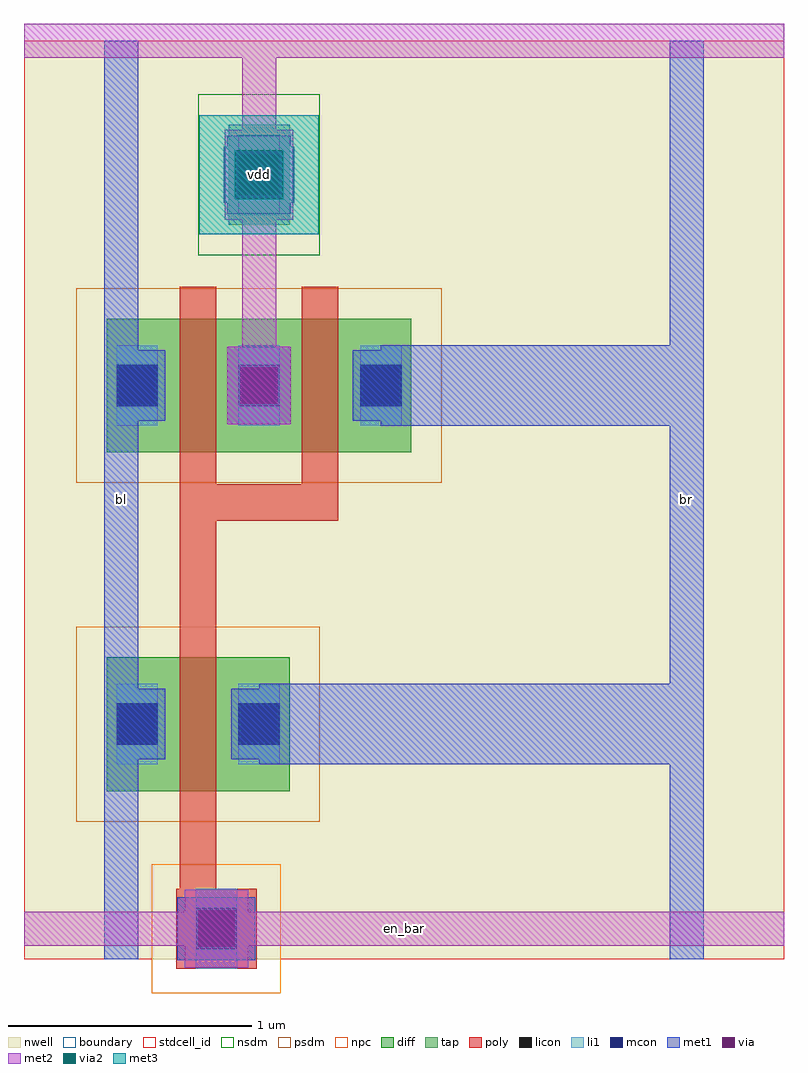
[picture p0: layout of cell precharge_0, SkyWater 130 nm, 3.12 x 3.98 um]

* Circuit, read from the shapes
.subckt precharge_0 bl br en_bar vdd
XM1 br en_bar bl vdd sky130_fd_pr__pfet_01v8 w=0.55 l=0.15
XM2 vdd en_bar bl vdd sky130_fd_pr__pfet_01v8 w=0.55 l=0.15
XM3 br en_bar vdd vdd sky130_fd_pr__pfet_01v8 w=0.55 l=0.15
.ends

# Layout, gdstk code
import gdstk
lib = gdstk.Library(unit=1e-6, precision=1e-09)
def R(c, l, rs):  # rectangles x0, y0, x1, y1
    for r in rs: c.add(gdstk.rectangle(r[:2], r[2:], *l))
nwell = (64, 20)
diff = (65, 20)
tap = (65, 44)
poly = (66, 20)
licon = (66, 44)
li1 = (67, 20)
mcon = (67, 44)
met1 = (68, 20)
via = (68, 44)
met2 = (69, 20)
via2 = (69, 44)
met3 = (70, 20)
stdcell_id = (81, 4)
nsdm = (93, 44)
psdm = (94, 20)
npc = (95, 20)
boundary = (235, 4)

contact_11 = lib.new_cell('contact_11')
R(contact_11, nwell, [(-0.295,-0.255,0.545,0.585)])
R(contact_11, diff, [(0,0.02,0.25,0.31)])
R(contact_11, licon, [(0.04,0.08,0.21,0.25)])
R(contact_11, li1, [(0.04,0,0.21,0.33)])
R(contact_11, stdcell_id, [(-0.295,-0.255,0.545,0.585)])
R(contact_11, psdm, [(-0.125,-0.105,0.375,0.435)])
R(contact_11, boundary, [(-0.295,-0.255,0.545,0.585)])

pmos_m1_w0_550_sli_dli = lib.new_cell('pmos_m1_w0_550_sli_dli')
R(pmos_m1_w0_550_sli_dli, nwell, [(-0.27,-0.27,1.02,0.82)])
R(pmos_m1_w0_550_sli_dli, diff, [(0,0,0.75,0.55)])
R(pmos_m1_w0_550_sli_dli, poly, [(0.3,-0.13,0.45,0.68), (0.3,-0.13,0.45,0.68)])
R(pmos_m1_w0_550_sli_dli, li1, [(0.04,0.11,0.21,0.44), (0.54,0.11,0.71,0.44)])
R(pmos_m1_w0_550_sli_dli, stdcell_id, [(-0.27,-0.27,1.02,0.82)])
R(pmos_m1_w0_550_sli_dli, psdm, [(-0.125,-0.125,0.875,0.675)])
R(pmos_m1_w0_550_sli_dli, boundary, [(-0.27,-0.27,1.02,0.82)])
pmos_m1_w0_550_sli_dli.add(gdstk.Reference(contact_11, (0,0.11)))
pmos_m1_w0_550_sli_dli.add(gdstk.Reference(contact_11, (0.5,0.11)))
pmos_m1_w0_550_sli_dli.add(gdstk.Label('D', (0.625,0.275), layer=67, texttype=16))
pmos_m1_w0_550_sli_dli.add(gdstk.Label('S', (0.125,0.275), layer=67, texttype=16))
pmos_m1_w0_550_sli_dli.add(gdstk.Label('G', (0.375,0.275), layer=66, texttype=16))

contact_12 = lib.new_cell('contact_12')
R(contact_12, poly, [(0,0,0.33,0.33)])
R(contact_12, licon, [(0.08,0.08,0.25,0.25)])
R(contact_12, li1, [(0.08,0,0.25,0.33)])
R(contact_12, stdcell_id, [(-0.1,-0.1,0.43,0.43)])
R(contact_12, npc, [(-0.1,-0.1,0.43,0.43)])
R(contact_12, boundary, [(-0.1,-0.1,0.43,0.43)])

contact_7 = lib.new_cell('contact_7')
R(contact_7, li1, [(0.06,0,0.23,0.33)])
R(contact_7, mcon, [(0.06,0.08,0.23,0.25)])
R(contact_7, met1, [(0,0.05,0.29,0.28)])
R(contact_7, stdcell_id, [(0,0,0.29,0.33)])
R(contact_7, boundary, [(0,0,0.29,0.33)])

contact_8 = lib.new_cell('contact_8')
R(contact_8, met1, [(0,0.03,0.32,0.29)])
R(contact_8, via, [(0.085,0.085,0.235,0.235)])
R(contact_8, met2, [(0.03,0,0.29,0.32)])
R(contact_8, stdcell_id, [(0,0,0.32,0.32)])
R(contact_8, boundary, [(0,0,0.32,0.32)])

contact_13 = lib.new_cell('contact_13')
R(contact_13, nwell, [(-0.295,-0.215,0.545,0.625)])
R(contact_13, tap, [(0,0,0.25,0.41)])
R(contact_13, licon, [(0.04,0.12,0.21,0.29)])
R(contact_13, li1, [(0.04,0.04,0.21,0.37)])
R(contact_13, stdcell_id, [(-0.295,-0.215,0.545,0.625)])
R(contact_13, nsdm, [(-0.125,-0.125,0.375,0.535)])
R(contact_13, boundary, [(-0.295,-0.215,0.545,0.625)])

contact_14 = lib.new_cell('contact_14')
R(contact_14, met1, [(0,0,0.26,0.32)])
R(contact_14, via, [(0.055,0.085,0.205,0.235)])
R(contact_14, met2, [(0,0,0.26,0.32)])
R(contact_14, stdcell_id, [(0,0,0.26,0.32)])
R(contact_14, boundary, [(0,0,0.26,0.32)])

contact_15 = lib.new_cell('contact_15')
R(contact_15, met2, [(0.025,0,0.305,0.37)])
R(contact_15, via2, [(0.065,0.085,0.265,0.285)])
R(contact_15, met3, [(0,0.02,0.33,0.35)])
R(contact_15, stdcell_id, [(0,0,0.33,0.37)])
R(contact_15, boundary, [(0,0,0.33,0.37)])

contact_16 = lib.new_cell('contact_16')
R(contact_16, li1, [(0.03,0,0.2,0.33)])
R(contact_16, mcon, [(0.03,0.08,0.2,0.25)])
R(contact_16, met1, [(0,0.02,0.23,0.31)])
R(contact_16, stdcell_id, [(0,0,0.23,0.33)])
R(contact_16, boundary, [(0,0,0.23,0.33)])

precharge_0 = lib.new_cell('precharge_0')
R(precharge_0, nwell, [(0,0,3.12,3.77)])
R(precharge_0, poly, [(0.64,0.05,0.79,0.2), (0.715,0.05,0.79,0.2), (0.64,0.125,0.79,0.56), (0.64,1.37,0.79,1.95), (0.64,1.8,1.29,1.95)])
R(precharge_0, met1, [(0.63,-0.005,0.95,0.255), (0.33,0,0.47,3.77), (0.33,0,0.47,3.77), (2.65,0,2.79,3.77), (2.65,0,2.79,3.77), (0.4,0.8,0.465,1.13), (0.965,0.8,2.72,1.13), (0.4,2.19,0.465,2.52), (1.465,2.19,2.72,2.52), (0.835,2.195,1.095,2.515)])
R(precharge_0, met2, [(0,0.055,3.12,0.195), (0.895,2.355,1.035,3.77), (0.825,3.1,1.105,3.34), (0,3.7,3.12,3.84)])
R(precharge_0, met3, [(0.72,2.975,1.21,3.465)])
R(precharge_0, stdcell_id, [(0,0,3.12,3.77)])
R(precharge_0, boundary, [(0,0,3.12,3.77)])
precharge_0.add(gdstk.Reference(pmos_m1_w0_550_sli_dli, (0.34,0.69)))
precharge_0.add(gdstk.Reference(pmos_m1_w0_550_sli_dli, (0.34,2.08)))
precharge_0.add(gdstk.Reference(pmos_m1_w0_550_sli_dli, (0.84,2.08)))
precharge_0.add(gdstk.Reference(contact_12, (0.625,-0.04)))
precharge_0.add(gdstk.Reference(contact_7, (0.645,-0.04)))
precharge_0.add(gdstk.Reference(contact_8, (0.63,-0.035)))
precharge_0.add(gdstk.Reference(contact_13, (0.84,3.015)))
precharge_0.add(gdstk.Reference(contact_7, (0.82,3.055)))
precharge_0.add(gdstk.Reference(contact_14, (0.835,3.06)))
precharge_0.add(gdstk.Reference(contact_15, (0.8,3.035)))
precharge_0.add(gdstk.Reference(contact_16, (0.85,2.19)))
precharge_0.add(gdstk.Reference(contact_14, (0.835,2.195)))
precharge_0.add(gdstk.Reference(contact_16, (0.35,0.8)))
precharge_0.add(gdstk.Reference(contact_16, (0.85,0.8)))
precharge_0.add(gdstk.Reference(contact_16, (0.35,2.19)))
precharge_0.add(gdstk.Reference(contact_16, (1.35,2.19)))
precharge_0.add(gdstk.Label('bl', (0.4,1.885), layer=68, texttype=16))
precharge_0.add(gdstk.Label('br', (2.72,1.885), layer=68, texttype=16))
precharge_0.add(gdstk.Label('en_bar', (1.56,0.125), layer=69, texttype=16))
precharge_0.add(gdstk.Label('vdd', (0.965,3.22), layer=70, texttype=16))

lib.write_gds('precharge_0.gds')
